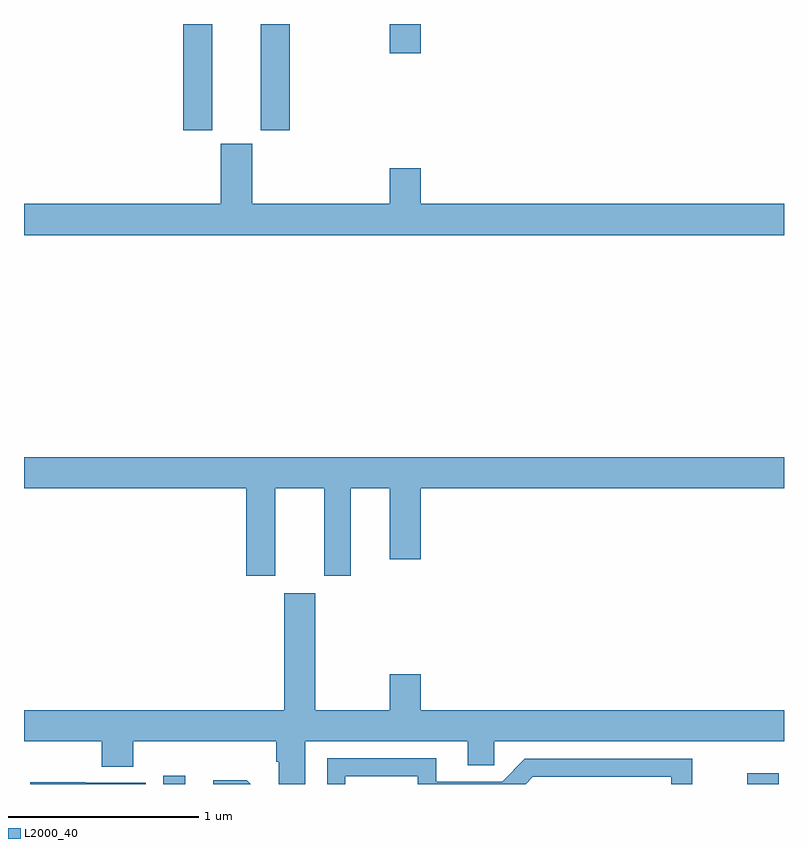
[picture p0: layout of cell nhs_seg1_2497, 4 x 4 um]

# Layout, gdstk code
import gdstk
lib = gdstk.Library(unit=1e-6, precision=1e-09)
def R(c, l, rs):  # rectangles x0, y0, x1, y1
    for r in rs: c.add(gdstk.rectangle(r[:2], r[2:], *l))
def P(c, l, *ps):  # polygons
    for p in ps: c.add(gdstk.Polygon(p, *l))
L2000_40 = (2000, 40)

nhs_seg1_2497 = lib.new_cell('nhs_seg1_2497')
R(nhs_seg1_2497, L2000_40, [(247.734,526.199,247.849,526.243), (250.807,526.199,250.972,526.255), (247.838,529.641,247.99,530.199), (248.246,529.641,248.399,530.199), (248.924,530.046,249.088,530.199)])
P(nhs_seg1_2497, L2000_40, [(251,529.252),(249.088,529.252),(249.088,529.441),(248.924,529.441),(248.924,529.252),(248.2,529.252),(248.2,529.569),(248.036,529.569),(248.036,529.252),(247,529.252),(247,529.088),(251,529.088)],
  [(248.323,527.756),(248.579,527.756),(248.579,527.295),(248.719,527.295),(248.719,527.756),(248.924,527.756),(248.924,527.382),(249.088,527.382),(249.088,527.756),(251,527.756),(251,527.92),(247,527.92),(247,527.756),(248.171,527.756),(248.171,527.295),(248.323,527.295)],
  [(248.479,526.424),(249.335,526.424),(249.335,526.297),(249.474,526.297),(249.474,526.424),(251,526.424),(251,526.588),(249.088,526.588),(249.088,526.777),(248.924,526.777),(248.924,526.588),(248.533,526.588),(248.533,527.203),(248.369,527.203),(248.369,526.588),(247,526.588),(247,526.424),(247.409,526.424),(247.409,526.291),(247.574,526.291),(247.574,526.424),(248.327,526.424),(248.327,526.315),(248.34,526.315),(248.34,526.199),(248.479,526.199)],
  [(248.691,526.239),(249.072,526.239),(249.072,526.199),(249.641,526.199),(249.678,526.236),(250.407,526.236),(250.407,526.199),(250.516,526.199),(250.516,526.332),(249.636,526.332),(249.516,526.212),(249.169,526.212),(249.169,526.335),(248.595,526.335),(248.595,526.199),(248.691,526.199)],
  [(248.173,526.22),(247.995,526.22),(247.995,526.199),(248.194,526.199)],
  [(247.641,526.206),(247.325,526.206),(247.325,526.208),(247.033,526.208),(247.033,526.199),(247.641,526.199)])

lib.write_gds('nhs_seg1_2497.gds')
